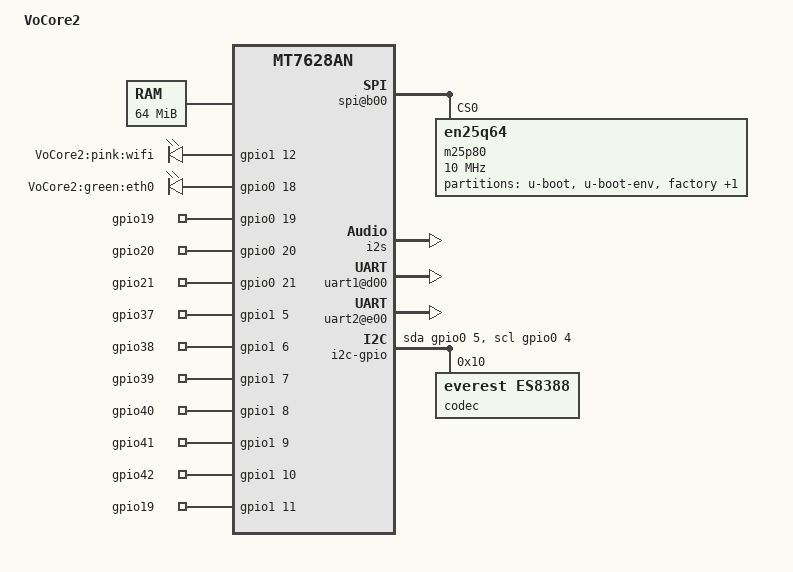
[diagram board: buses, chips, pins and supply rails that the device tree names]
/dts-v1/;

/include/ "mt7628an.dtsi"

/ {
	compatible = "VoCore2", "mediatek,mt7628an-soc";
	model = "VoCore2";


	memory@0 {
		device_type = "memory";
		reg = <0x0 0x4000000>;
	};

	gpio-leds {
		compatible = "gpio-leds";

		wifiled {
			label = "VoCore2:pink:wifi";
			gpios = <&gpio1 12 0>;
		};
		ethernetled {
			label = "VoCore2:green:eth0";
			gpios = <&gpio0 18 0>;
		};
	};

	chosen {
		bootargs = "console=ttyS2,115200";
	};

	pinctrl {
		state_default: pinctrl0 {
			gpio0 {
				ralink,group = "gpio";
				ralink,function = "refclk";
			};
			i2c {
				ralink,group = "i2c";
				ralink,function = "i2c";
			};
			i2s {
				ralink,group = "i2s";
				ralink,function = "i2s";
			};
			pwm1 {
				ralink,group = "pwm1";
				ralink,function = "gpio";
			};
			uart2 {
				ralink,group = "uart2";
				ralink,function = "gpio";
			};
			sdmode {
				ralink,group = "sdmode";
				ralink,function = "sdxc";
			};
			wdt {
				ralink,group = "wdt";
				ralink,function = "gpio";
			};
			refclk {
				ralink,group = "refclk";
				ralink,function = "gpio";
			};
			agpio {
				ralink,group = "agpio";
				ralink,function = "uart2";
			};
			led4 {
				ralink,group = "p4led_an";
				ralink,function = "gpio";
			};
			led3 {
				ralink,group = "p3led_an";
				ralink,function = "gpio";
			};
			led2 {
				ralink,group = "p2led_an";
				ralink,function = "gpio";
			};
			led1 {
				ralink,group = "p1led_an";
				ralink,function = "gpio";
			};
			led0 {
				ralink,group = "p0led_an";
				ralink,function = "gpio";
			};
		};
	};

	gpio-export {
		compatible = "gpio-export";
		#size-cells = <0>;

		gpio19 {
			gpio-export,name = "gpio19";
			gpio-export,direction_may_change = <1>;
			gpios = <&gpio0 19 0>;
		};

		gpio20 {
			gpio-export,name = "gpio20";
			gpio-export,direction_may_change = <1>;
			gpios = <&gpio0 20 0>;
		};

		gpio21 {
			gpio-export,name = "gpio21";
			gpio-export,direction_may_change = <1>;
			gpios = <&gpio0 21 0>;
		};

		gpio37 {
			gpio-export,name = "gpio37";
			gpio-export,direction_may_change = <1>;
			gpios = <&gpio1 5 0>;
		};

		gpio38 {
			gpio-export,name = "gpio38";
			gpio-export,direction_may_change = <1>;
			gpios = <&gpio1 6 0>;
		};

		gpio39 {
			gpio-export,name = "gpio39";
			gpio-export,direction_may_change = <1>;
			gpios = <&gpio1 7 0>;
		};

		gpio40 {
			gpio-export,name = "gpio40";
			gpio-export,direction_may_change = <1>;
			gpios = <&gpio1 8 0>;
		};

		gpio41 {
			gpio-export,name = "gpio41";
			gpio-export,direction_may_change = <1>;
			gpios = <&gpio1 9 0>;
		};

		gpio42 {
			gpio-export,name = "gpio42";
			gpio-export,direction_may_change = <1>;
			gpios = <&gpio1 10 0>;
		};

		gpio43 {
			gpio-export,name = "gpio19";
			gpio-export,direction_may_change = <1>;
			gpios = <&gpio1 11 0>;
		};
	};
	
	palmbus@10000000 {
		spi@b00 {
			status = "okay";

			m25p80@0 {
				#address-cells = <1>;
				#size-cells = <1>;
				compatible = "en25q64";
				reg = <0 0>;
				linux,modalias = "m25p80", "en25q64";
				spi-max-frequency = <10000000>;
				m25p,chunked-io = <32>;

				partition@0 {
					label = "u-boot";
					reg = <0x0 0x30000>;
					read-only;
				};

				partition@30000 {
					label = "u-boot-env";
					reg = <0x30000 0x10000>;
				};

				factory: partition@40000 {
					label = "factory";
					reg = <0x40000 0x10000>;
					read-only;
				};

				partition@50000 {
					label = "firmware";
					reg = <0x50000 0xfb0000>;
				};
			};

		};
		i2s: i2s@a00 {
			compatible = "mediatek,mt7628-i2s";
			status = "okay";
		};
		uart1@d00 {
			status = "okay";
		};
		uart2@e00 {
			status = "okay";
		};
		gdma@2800 {
			compatible = "mediatek,mt7628-gdma";
			status = "okay";
		};
	};

	i2c-gpio {
		compatible = "i2c-gpio";

		gpios = <&gpio0 5 0 &gpio0 4 0>;
		i2c-gpio,delay-us = <5>;

		codec: es8388@10 {
			compatible = "everest,es8388";
			model = "es8388";
			reg = <0x10>;
		};
        };

	audio-card {
		compatible = "mediatek,mt7628-audio";

		i2s-node = <&i2s>;
		codec-node = <&codec>;
		codec-dai-name = "es8388-hifi";
	};
};
